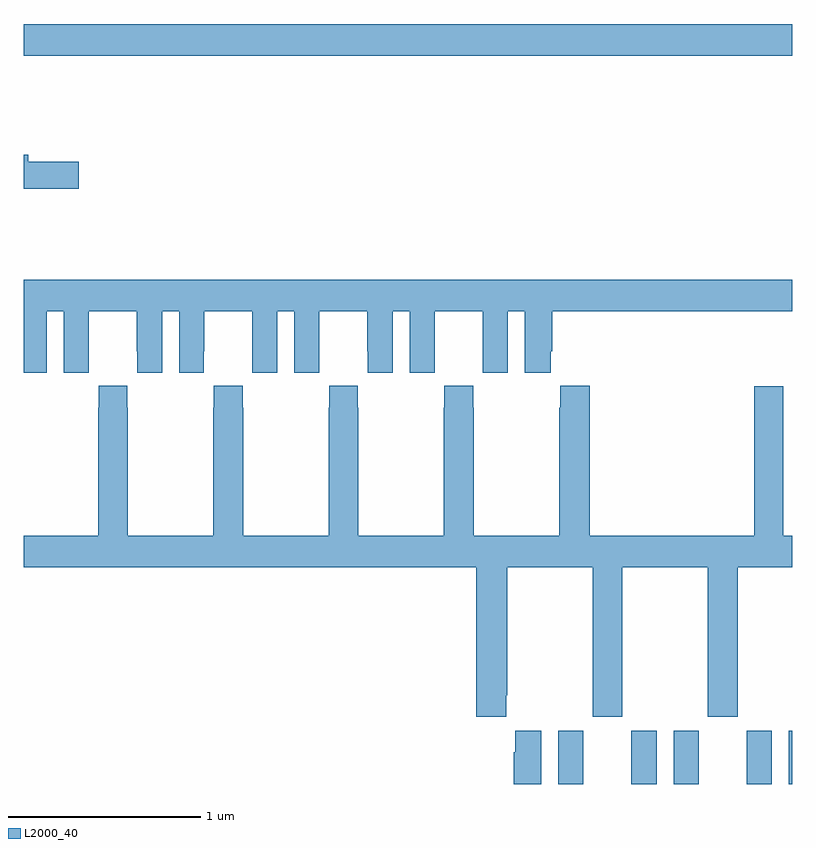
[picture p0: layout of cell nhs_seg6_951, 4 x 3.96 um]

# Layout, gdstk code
import gdstk
lib = gdstk.Library(unit=1e-6, precision=1e-09)
def R(c, l, rs):  # rectangles x0, y0, x1, y1
    for r in rs: c.add(gdstk.rectangle(r[:2], r[2:], *l))
def P(c, l, *ps):  # polygons
    for p in ps: c.add(gdstk.Polygon(p, *l))
L2000_40 = (2000, 40)

nhs_seg6_951 = lib.new_cell('nhs_seg6_951')
R(nhs_seg6_951, L2000_40, [(171.782,987.5,171.913,987.778), (172.163,987.5,172.294,987.778), (172.382,987.5,172.513,987.778), (172.763,987.5,172.894,987.778), (172.982,987.5,173,987.778), (169,991.292,173,991.456)])
P(nhs_seg6_951, L2000_40, [(169.285,990.74),(169.024,990.74),(169.024,990.776),(169,990.776),(169,990.598),(169.285,990.598)],
  [(169.12,989.96),(169.208,989.96),(169.208,989.64),(169.338,989.64),(169.338,989.752),(169.339,989.752),(169.339,989.96),(169.589,989.96),(169.589,989.752),(169.59,989.752),(169.59,989.64),(169.72,989.64),(169.72,989.96),(169.808,989.96),(169.808,989.64),(169.938,989.64),(169.938,989.752),(169.939,989.752),(169.939,989.96),(170.189,989.96),(170.189,989.752),(170.19,989.752),(170.19,989.64),(170.32,989.64),(170.32,989.96),(170.408,989.96),(170.408,989.64),(170.538,989.64),(170.538,989.752),(170.539,989.752),(170.539,989.96),(170.789,989.96),(170.789,989.752),(170.79,989.752),(170.79,989.64),(170.92,989.64),(170.92,989.96),(171.008,989.96),(171.008,989.64),(171.138,989.64),(171.138,989.752),(171.139,989.752),(171.139,989.96),(171.389,989.96),(171.389,989.752),(171.39,989.752),(171.39,989.64),(171.52,989.64),(171.52,989.96),(171.608,989.96),(171.608,989.64),(171.742,989.64),(171.742,989.752),(171.752,989.752),(171.752,989.96),(173,989.96),(173,990.124),(169,990.124),(169,989.64),(169.12,989.64)],
  [(171.511,987.961),(171.516,987.961),(171.516,988.628),(171.961,988.628),(171.961,987.849),(172.116,987.849),(172.116,988.628),(172.561,988.628),(172.561,987.849),(172.716,987.849),(172.716,988.628),(173,988.628),(173,988.792),(172.954,988.792),(172.954,989.571),(172.802,989.571),(172.802,988.792),(171.947,988.792),(171.947,989.572),(171.793,989.572),(171.793,989.459),(171.787,989.459),(171.787,988.792),(171.342,988.792),(171.342,989.459),(171.339,989.459),(171.339,989.572),(171.189,989.572),(171.189,989.459),(171.187,989.459),(171.187,988.792),(170.742,988.792),(170.742,989.459),(170.739,989.459),(170.739,989.572),(170.589,989.572),(170.589,989.459),(170.587,989.459),(170.587,988.792),(170.142,988.792),(170.142,989.459),(170.139,989.459),(170.139,989.572),(169.989,989.572),(169.989,989.459),(169.987,989.459),(169.987,988.792),(169.542,988.792),(169.542,989.459),(169.539,989.459),(169.539,989.572),(169.389,989.572),(169.389,989.459),(169.387,989.459),(169.387,988.792),(169,988.792),(169,988.628),(171.356,988.628),(171.356,987.849),(171.511,987.849)],
  [(171.694,987.778),(171.557,987.778),(171.557,987.665),(171.551,987.665),(171.551,987.5),(171.694,987.5)])

lib.write_gds('nhs_seg6_951.gds')
